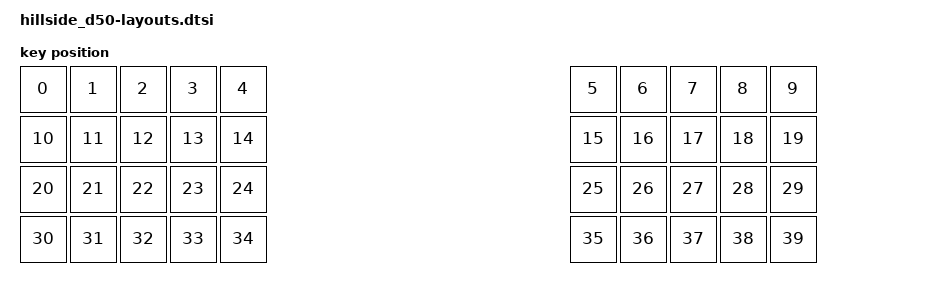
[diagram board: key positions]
#include <physical_layouts.dtsi>

/* Physical layout definition.

Referenced in the main dtsi file, where the kscan and transforms are defined.

Keys property is needed for Studio support.

Every physical layout needs a matrix transform, and optionally a kscan.

By convention,
kscan and transform are assigned to the physical layout in the file where the
    matrix transform and kscan are defined.
Except it seems when a key property is added, when it makes sense to
put it all together here.

*/

/ {
    physical_layout0: physical_layout_0 {
        compatible = "zmk,physical-layout";
        display-name = "Default Layout";
        kscan = <&kscan0>; // Label of the kscan node this layout uses
        transform = <&default_transform>; // Label of the matrix transform this layout uses
        keys  //                     w   h    x    y     rot    rx    ry
            // Row 0 (top row) - Left side (5 keys)
            = <&key_physical_attrs 100 100    0    0       0     0     0>
            , <&key_physical_attrs 100 100  100    0       0     0     0>
            , <&key_physical_attrs 100 100  200    0       0     0     0>
            , <&key_physical_attrs 100 100  300    0       0     0     0>
            , <&key_physical_attrs 100 100  400    0       0     0     0>
            // Row 0 - Right side (5 keys)
            , <&key_physical_attrs 100 100 1100    0       0     0     0>
            , <&key_physical_attrs 100 100 1200    0       0     0     0>
            , <&key_physical_attrs 100 100 1300    0       0     0     0>
            , <&key_physical_attrs 100 100 1400    0       0     0     0>
            , <&key_physical_attrs 100 100 1500    0       0     0     0>

            // Row 1 - Left side (5 keys)
            , <&key_physical_attrs 100 100    0  100       0     0     0>
            , <&key_physical_attrs 100 100  100  100       0     0     0>
            , <&key_physical_attrs 100 100  200  100       0     0     0>
            , <&key_physical_attrs 100 100  300  100       0     0     0>
            , <&key_physical_attrs 100 100  400  100       0     0     0>
            // Row 1 - Right side (5 keys)
            , <&key_physical_attrs 100 100 1100  100       0     0     0>
            , <&key_physical_attrs 100 100 1200  100       0     0     0>
            , <&key_physical_attrs 100 100 1300  100       0     0     0>
            , <&key_physical_attrs 100 100 1400  100       0     0     0>
            , <&key_physical_attrs 100 100 1500  100       0     0     0>

            // Row 2 - Left side (5 keys)
            , <&key_physical_attrs 100 100    0  200       0     0     0>
            , <&key_physical_attrs 100 100  100  200       0     0     0>
            , <&key_physical_attrs 100 100  200  200       0     0     0>
            , <&key_physical_attrs 100 100  300  200       0     0     0>
            , <&key_physical_attrs 100 100  400  200       0     0     0>
            // Row 2 - Right side (5 keys)
            , <&key_physical_attrs 100 100 1100  200       0     0     0>
            , <&key_physical_attrs 100 100 1200  200       0     0     0>
            , <&key_physical_attrs 100 100 1300  200       0     0     0>
            , <&key_physical_attrs 100 100 1400  200       0     0     0>
            , <&key_physical_attrs 100 100 1500  200       0     0     0>

            // Row 3 (bottom row) - Left side (5 keys)
            , <&key_physical_attrs 100 100    0  300       0     0     0>
            , <&key_physical_attrs 100 100  100  300       0     0     0>
            , <&key_physical_attrs 100 100  200  300       0     0     0>
            , <&key_physical_attrs 100 100  300  300       0     0     0>
            , <&key_physical_attrs 100 100  400  300       0     0     0>
            // Row 3 - Right side (5 keys)
            , <&key_physical_attrs 100 100 1100  300       0     0     0>
            , <&key_physical_attrs 100 100 1200  300       0     0     0>
            , <&key_physical_attrs 100 100 1300  300       0     0     0>
            , <&key_physical_attrs 100 100 1400  300       0     0     0>
            , <&key_physical_attrs 100 100 1500  300       0     0     0>
            ;
    };
};
